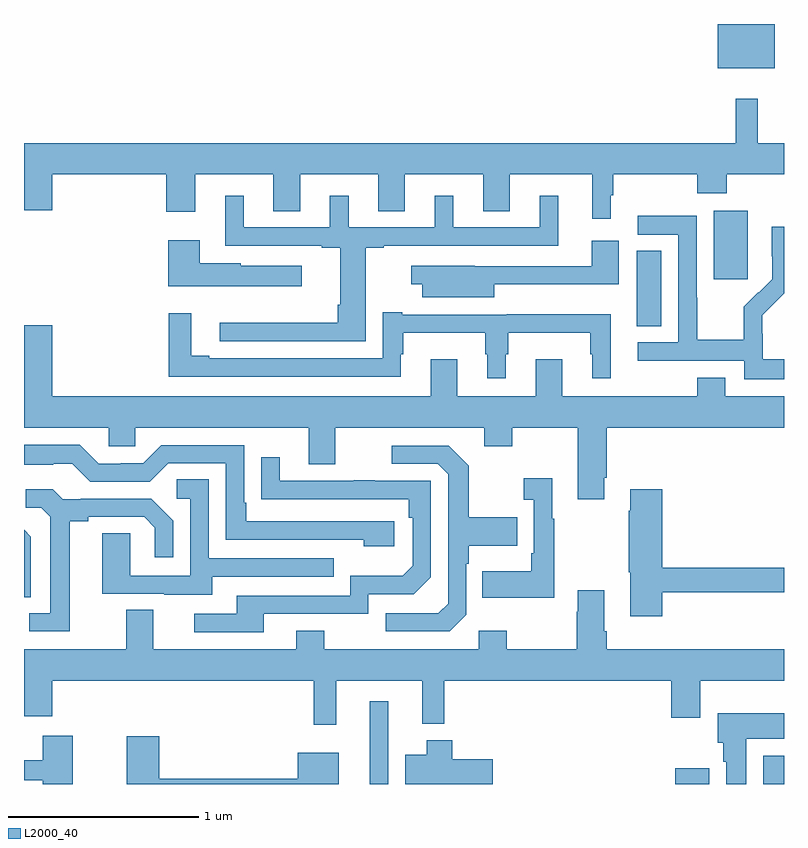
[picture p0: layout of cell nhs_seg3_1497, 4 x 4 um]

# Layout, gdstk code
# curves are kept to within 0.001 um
import gdstk
lib = gdstk.Library(unit=1e-6, precision=1e-09)
def R(c, l, rs):  # rectangles x0, y0, x1, y1
    for r in rs: c.add(gdstk.rectangle(r[:2], r[2:], *l))
def P(c, l, *ps):  # polygons
    for p in ps: c.add(gdstk.Polygon(p, *l))
L2000_40 = (2000, 40)

nhs_seg3_1497 = lib.new_cell('nhs_seg3_1497')
R(nhs_seg3_1497, L2000_40, [(190.82,672.4,190.917,672.835), (192.428,672.4,192.607,672.484), (192.89,672.4,193,672.55), (192.224,674.809,192.355,675.206), (192.629,675.057,192.808,675.418), (192.65,676.166,192.952,676.4)])
P(nhs_seg3_1497, L2000_40, [(192.088,675.5),(192.1,675.5),(192.1,675.608),(192.544,675.608),(192.544,675.509),(192.699,675.509),(192.699,675.608),(193,675.608),(193,675.772),(192.863,675.772),(192.863,676.006),(192.745,676.006),(192.745,675.772),(189,675.772),(189,675.42),(189.148,675.42),(189.148,675.608),(189.749,675.608),(189.749,675.411),(189.901,675.411),(189.901,675.608),(190.313,675.608),(190.313,675.415),(190.453,675.415),(190.453,675.608),(190.865,675.608),(190.865,675.415),(191.005,675.415),(191.005,675.608),(191.417,675.608),(191.417,675.415),(191.557,675.415),(191.557,675.608),(191.99,675.608),(191.99,675.375),(192.088,675.375)],
  [(190.798,675.222),(190.894,675.222),(190.894,675.234),(191.813,675.234),(191.813,675.496),(191.714,675.496),(191.714,675.33),(191.26,675.33),(191.26,675.496),(191.162,675.496),(191.162,675.33),(190.708,675.33),(190.708,675.496),(190.61,675.496),(190.61,675.33),(190.156,675.33),(190.156,675.496),(190.058,675.496),(190.058,675.234),(190.568,675.234),(190.568,675.222),(190.664,675.222),(190.664,674.923),(190.652,674.923),(190.652,674.828),(190.029,674.828),(190.029,674.73),(190.798,674.73)],
  [(193,674.635),(192.888,674.635),(192.888,674.769),(192.886,674.769),(192.886,674.866),(193,674.982),(193,675.332),(192.936,675.332),(192.936,675.178),(192.938,675.178),(192.938,675.056),(192.867,674.985),(192.864,674.988),(192.787,674.911),(192.787,674.737),(192.543,674.737),(192.543,674.96),(192.54,674.96),(192.54,675.39),(192.231,675.39),(192.231,675.291),(192.444,675.291),(192.444,674.724),(192.231,674.724),(192.231,674.628),(192.792,674.628),(192.792,674.531),(193,674.531)],
  [(190.462,675.127),(190.14,675.127),(190.14,675.142),(189.925,675.142),(189.925,675.262),(189.758,675.262),(189.758,675.02),(190.462,675.02)],
  [(191.476,675.029),(192.13,675.029),(192.13,675.259),(191.987,675.259),(191.987,675.126),(191.372,675.126),(191.372,675.127),(191.037,675.127),(191.037,675.029),(191.096,675.029),(191.096,674.963),(191.476,674.963)],
  [(191.536,674.663),(191.548,674.663),(191.548,674.774),(191.979,674.774),(191.979,674.663),(191.99,674.663),(191.99,674.535),(192.088,674.535),(192.088,674.872),(191.542,674.872),(191.542,674.871),(190.99,674.871),(190.99,674.884),(190.887,674.884),(190.887,674.64),(189.976,674.64),(189.976,674.653),(189.88,674.653),(189.88,674.878),(189.763,674.878),(189.763,674.544),(190.984,674.544),(190.984,674.663),(190.996,674.663),(190.996,674.774),(191.427,674.774),(191.427,674.663),(191.438,674.663),(191.438,674.535),(191.536,674.535)],
  [(192.055,674.011),(192.068,674.011),(192.068,674.276),(193,674.276),(193,674.44),(192.691,674.44),(192.691,674.539),(192.544,674.539),(192.544,674.44),(191.833,674.44),(191.833,674.635),(191.693,674.635),(191.693,674.44),(191.281,674.44),(191.281,674.635),(191.141,674.635),(191.141,674.44),(189.148,674.44),(189.148,674.815),(189,674.815),(189,674.276),(189.447,674.276),(189.447,674.178),(189.585,674.178),(189.585,674.276),(190.499,674.276),(190.499,674.082),(190.639,674.082),(190.639,674.276),(191.423,674.276),(191.423,674.177),(191.571,674.177),(191.571,674.276),(191.915,674.276),(191.915,673.899),(192.055,673.899)],
  [(190.948,673.782),(190.171,673.782),(190.171,673.879),(190.158,673.879),(190.158,674.184),(189.723,674.184),(189.627,674.088),(189.509,674.088),(189.509,674.085),(189.393,674.085),(189.293,674.185),(189,674.185),(189,674.081),(189.155,674.081),(189.155,674.085),(189.255,674.085),(189.348,673.992),(189.663,673.992),(189.759,674.088),(190.062,674.088),(190.062,673.686),(190.787,673.686),(190.787,673.652),(190.948,673.652)],
  [(191.328,673.29),(191.328,673.559),(191.341,673.559),(191.341,673.655),(191.597,673.655),(191.597,673.803),(191.341,673.803),(191.341,674.075),(191.235,674.181),(190.935,674.181),(190.935,674.085),(191.178,674.085),(191.232,674.031),(191.232,673.35),(191.181,673.299),(190.905,673.299),(190.905,673.203),(191.241,673.203)],
  [(190.261,673.296),(190.812,673.296),(190.812,673.398),(191.052,673.398),(191.142,673.488),(191.142,673.995),(190.847,673.995),(190.847,674),(190.735,674),(190.735,673.995),(190.345,673.995),(190.345,674.119),(190.249,674.119),(190.249,673.9),(191.026,673.899),(191.026,673.802),(191.046,673.802),(191.046,673.548),(190.993,673.495),(190.716,673.495),(190.716,673.392),(190.121,673.392),(190.121,673.296),(189.897,673.296),(189.897,673.2),(190.261,673.2)],
  [(191.791,673.795),(191.779,673.795),(191.779,674.008),(191.631,674.008),(191.631,673.895),(191.682,673.895),(191.682,673.615),(191.67,673.615),(191.67,673.519),(191.413,673.519),(191.413,673.379),(191.791,673.379)],
  [(189.991,673.491),(190.631,673.491),(190.631,673.587),(189.972,673.587),(189.972,674.003),(189.804,674.003),(189.804,673.902),(189.876,673.902),(189.876,673.497),(189.558,673.497),(189.558,673.721),(189.413,673.721),(189.413,673.401),(189.737,673.401),(189.737,673.397),(189.991,673.397)],
  [(189.241,673.784),(189.337,673.784),(189.337,673.806),(189.632,673.806),(189.689,673.749),(189.689,673.593),(189.786,673.593),(189.786,673.786),(189.67,673.902),(189.298,673.902),(189.298,673.899),(189.204,673.899),(189.152,673.951),(189.009,673.951),(189.009,673.854),(189.09,673.854),(189.137,673.807),(189.137,673.299),(189.027,673.299),(189.027,673.203),(189.241,673.203)],
  [(192.359,673.41),(193,673.41),(193,673.538),(192.359,673.538),(192.359,673.951),(192.191,673.951),(192.191,673.838),(192.184,673.838),(192.184,673.515),(192.191,673.515),(192.191,673.284),(192.359,673.284)],
  [(189.036,673.702),(189,673.738),(189,673.384),(189.036,673.384)],
  [(190.643,672.944),(191.096,672.944),(191.096,672.716),(191.213,672.716),(191.213,672.944),(192.407,672.944),(192.407,672.75),(192.559,672.75),(192.559,672.944),(193,672.944),(193,673.108),(192.068,673.108),(192.068,673.204),(192.055,673.204),(192.055,673.42),(191.915,673.42),(191.915,673.307),(191.908,673.307),(191.908,673.108),(191.541,673.108),(191.541,673.207),(191.394,673.207),(191.394,673.108),(190.581,673.108),(190.581,673.207),(190.433,673.207),(190.433,673.108),(189.679,673.108),(189.679,673.316),(189.539,673.316),(189.539,673.108),(189,673.108),(189,672.756),(189.148,672.756),(189.148,672.944),(190.525,672.944),(190.525,672.711),(190.643,672.711)],
  [(192.802,672.638),(193,672.638),(193,672.772),(192.65,672.772),(192.65,672.618),(192.68,672.618),(192.68,672.518),(192.695,672.518),(192.695,672.4),(192.802,672.4)],
  [(189.256,672.655),(189.098,672.655),(189.098,672.525),(189,672.525),(189,672.421),(189.098,672.421),(189.098,672.4),(189.256,672.4)],
  [(190.657,672.565),(190.442,672.565),(190.442,672.428),(189.713,672.428),(189.713,672.652),(189.542,672.652),(189.542,672.4),(190.657,672.4)],
  [(191.467,672.531),(191.255,672.531),(191.255,672.631),(191.12,672.631),(191.12,672.553),(191.006,672.553),(191.006,672.4),(191.467,672.4)])

lib.write_gds('nhs_seg3_1497.gds')
